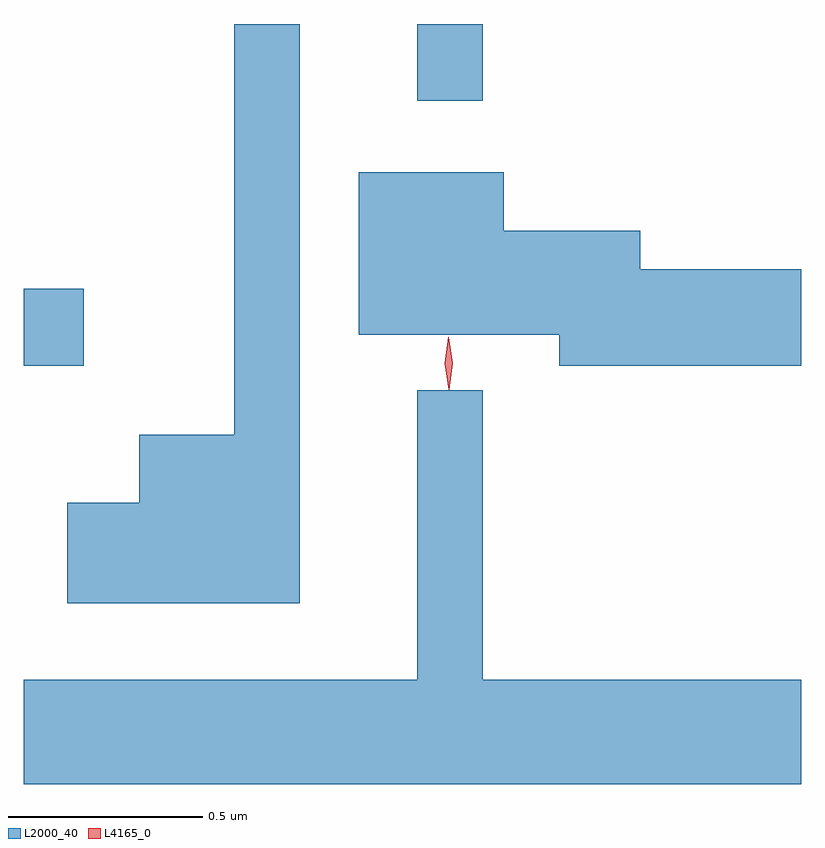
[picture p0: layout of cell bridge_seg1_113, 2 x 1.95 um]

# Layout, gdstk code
import gdstk
lib = gdstk.Library(unit=1e-6, precision=1e-09)
def R(c, l, rs):  # rectangles x0, y0, x1, y1
    for r in rs: c.add(gdstk.rectangle(r[:2], r[2:], *l))
def P(c, l, *ps):  # polygons
    for p in ps: c.add(gdstk.Polygon(p, *l))
L2000_40 = (2000, 40)
L4165_0 = (4165, 0)

bridge_seg1_113 = lib.new_cell('bridge_seg1_113')
R(bridge_seg1_113, L2000_40, [(1374.579,925.071,1374.734,925.269), (1375.591,925.753,1375.759,925.95)])
P(bridge_seg1_113, L2000_40, [(1375.289,925.95),(1375.121,925.95),(1375.121,924.894),(1374.876,924.894),(1374.876,924.719),(1374.691,924.719),(1374.691,924.461),(1375.289,924.461)],
  [(1376.579,925.319),(1376.164,925.319),(1376.164,925.419),(1375.814,925.419),(1375.814,925.569),(1375.441,925.569),(1375.441,925.151),(1375.956,925.151),(1375.956,925.071),(1376.579,925.071)],
  [(1376.579,924.264),(1375.759,924.264),(1375.759,925.008),(1375.591,925.008),(1375.591,924.264),(1374.579,924.264),(1374.579,923.996),(1376.579,923.996)])
P(bridge_seg1_113, L4165_0, [(1375.672,925.01),(1375.672,925.01),(1375.662,925.078),(1375.671,925.145),(1375.671,925.146),(1375.672,925.145),(1375.682,925.078),(1375.673,925.01)],
  [(1375.672,925.013),(1375.672,925.013),(1375.662,925.076),(1375.671,925.139),(1375.671,925.139),(1375.672,925.139),(1375.682,925.076),(1375.673,925.013)])

lib.write_gds('bridge_seg1_113.gds')
